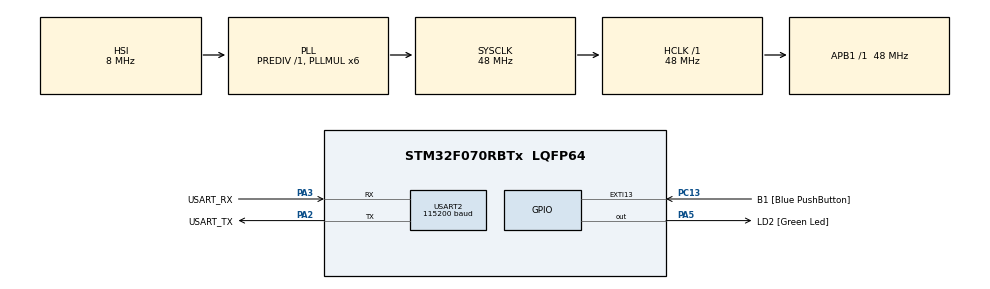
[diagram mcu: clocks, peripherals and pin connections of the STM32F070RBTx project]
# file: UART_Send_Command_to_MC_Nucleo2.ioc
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Mcu.Family=STM32F0
Mcu.Name=STM32F070RBTx
Mcu.Package=LQFP64
NVIC.USART2_IRQn=true\:0\:0\:false\:false\:true\:true\:true\:true
PA13.GPIO_Label=TMS
PA13.Mode=Serial_Wire
PA13.Signal=SYS_SWDIO
PA14.GPIO_Label=TCK
PA14.Mode=Serial_Wire
PA14.Signal=SYS_SWCLK
PA2.GPIO_Label=USART_TX
PA2.Mode=Asynchronous
PA2.Signal=USART2_TX
PA3.GPIO_Label=USART_RX
PA3.Mode=Asynchronous
PA3.Signal=USART2_RX
PA5.GPIO_Label=LD2 [Green Led]
PA5.Signal=GPIO_Output
PC13.GPIO_Label=B1 [Blue PushButton]
PC13.GPIO_ModeDefaultEXTI=GPIO_MODE_IT_FALLING
PC13.Signal=GPXTI13
PC14-OSC32_IN.GPIO_Label=RCC_OSC32_IN
PC14-OSC32_IN.Mode=LSE-External-Oscillator
PC14-OSC32_IN.Signal=RCC_OSC32_IN
PC15-OSC32_OUT.GPIO_Label=RCC_OSC32_OUT
PC15-OSC32_OUT.Mode=LSE-External-Oscillator
PC15-OSC32_OUT.Signal=RCC_OSC32_OUT
PF0-OSC_IN.GPIO_Label=RCC_OSC_IN
PF0-OSC_IN.Mode=HSE-External-Clock-Source
PF0-OSC_IN.Signal=RCC_OSC_IN
PF1-OSC_OUT.GPIO_Label=RCC_OSC_OUT
PF1-OSC_OUT.Signal=RCC_OSC_OUT
ProjectManager.HeapSize=0x200
ProjectManager.StackSize=0x400
ProjectManager.TargetToolchain=STM32CubeIDE
RCC.AHBFreq_Value=48000000
RCC.APB1Freq_Value=48000000
RCC.APB1TimFreq_Value=48000000
RCC.HCLKFreq_Value=48000000
RCC.PLLMUL=RCC_PLL_MUL6
RCC.SYSCLKFreq_VALUE=48000000
RCC.SYSCLKSource=RCC_SYSCLKSOURCE_PLLCLK
USART2.BaudRate=115200
USART2.VirtualMode-Asynchronous=VM_ASYNC
board=NUCLEO-F070RB

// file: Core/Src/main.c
/* USER CODE BEGIN Header */
/**
  ******************************************************************************
  * @file           : main.c
  * @brief          : Main program body
  ******************************************************************************
  * @attention
  *
  * Copyright (c) 2023 STMicroelectronics.
  * All rights reserved.
  *
  * This software is licensed under terms that can be found in the LICENSE file
  * in the root directory of this software component.
  * If no LICENSE file comes with this software, it is provided AS-IS.
  *
  ******************************************************************************
  */
/* USER CODE END Header */
#include "main.h"

UART_HandleTypeDef huart2;

/* USER CODE BEGIN PV */ // CUSTOM CODES

uint8_t rx_data[1];
volatile uint8_t startReceive = 1;

#define RX_BUFFER_SIZE 10
char rx_buffer[RX_BUFFER_SIZE];
uint8_t rx_index = 0;

#include <string.h>

// char receivedChar; // Enable it if you want to use it later on the code

/* USER CODE END PV */

void SystemClock_Config(void);
static void MX_GPIO_Init(void);
static void MX_USART2_UART_Init(void);

/* USER CODE BEGIN 0 */

// extern void initialise_monitor_handles(void); // Declare the function // for debugging by KD CUSTOM

/* USER CODE END 0 */

int main(void)
{
  /* USER CODE BEGIN 1 */

  //  initialise_monitor_handles(); // for debugging by KD CUSTOM

  /* USER CODE END 1 */

  /* MCU Configuration--------------------------------------------------------*/

  /* Reset of all peripherals, Initializes the Flash interface and the Systick. */
  HAL_Init();

  /* Configure the system clock */
  SystemClock_Config();

  /* Initialize all configured peripherals */
  MX_GPIO_Init();
  MX_USART2_UART_Init();
  /* USER CODE BEGIN 2 */

// CUSTOM CODES

  // HAL_GPIO_WritePin(LD2_GPIO_Port, LD2_Pin, GPIO_PIN_SET); // set the led first

  HAL_UART_Receive_IT(&huart2, rx_data, 1); // In every (1) byte sent, trigger an interrupt and do something. The buffer will be 2 bytes
  // If you set it to 6, there will be an interrupt on every 6 letters. You can use it in a password-like system. Don't forget to change the buffer and message size, too.

  /* USER CODE END 2 */

  /* Infinite loop */
  /* USER CODE BEGIN WHILE */
  while (1)
  {

//	  HAL_UART_Transmit(&huart2, msg, 32, TimeOutTime);
//	  HAL_Delay(1000);

    /* USER CODE END WHILE */

  }
}

void SystemClock_Config(void)
{
  RCC_OscInitTypeDef RCC_OscInitStruct = {0};
  RCC_ClkInitTypeDef RCC_ClkInitStruct = {0};

  /** Initializes the RCC Oscillators according to the specified parameters
  * in the RCC_OscInitTypeDef structure.
  */
  RCC_OscInitStruct.OscillatorType = RCC_OSCILLATORTYPE_HSI;
  RCC_OscInitStruct.HSIState = RCC_HSI_ON;
  RCC_OscInitStruct.HSICalibrationValue = RCC_HSICALIBRATION_DEFAULT;
  RCC_OscInitStruct.PLL.PLLState = RCC_PLL_ON;
  RCC_OscInitStruct.PLL.PLLSource = RCC_PLLSOURCE_HSI;
  RCC_OscInitStruct.PLL.PLLMUL = RCC_PLL_MUL6;
  RCC_OscInitStruct.PLL.PREDIV = RCC_PREDIV_DIV1;
  if (HAL_RCC_OscConfig(&RCC_OscInitStruct) != HAL_OK)
  {
    Error_Handler();
  }

  /** Initializes the CPU, AHB and APB buses clocks
  */
  RCC_ClkInitStruct.ClockType = RCC_CLOCKTYPE_HCLK|RCC_CLOCKTYPE_SYSCLK
                              |RCC_CLOCKTYPE_PCLK1;
  RCC_ClkInitStruct.SYSCLKSource = RCC_SYSCLKSOURCE_PLLCLK;
  RCC_ClkInitStruct.AHBCLKDivider = RCC_SYSCLK_DIV1;
  RCC_ClkInitStruct.APB1CLKDivider = RCC_HCLK_DIV1;

  if (HAL_RCC_ClockConfig(&RCC_ClkInitStruct, FLASH_LATENCY_1) != HAL_OK)
  {
    Error_Handler();
  }
}

static void MX_USART2_UART_Init(void)
{

  huart2.Instance = USART2;
  huart2.Init.BaudRate = 115200;
  huart2.Init.WordLength = UART_WORDLENGTH_8B;
  huart2.Init.StopBits = UART_STOPBITS_1;
  huart2.Init.Parity = UART_PARITY_NONE;
  huart2.Init.Mode = UART_MODE_TX_RX;
  huart2.Init.HwFlowCtl = UART_HWCONTROL_NONE;
  huart2.Init.OverSampling = UART_OVERSAMPLING_16;
  huart2.Init.OneBitSampling = UART_ONE_BIT_SAMPLE_DISABLE;
  huart2.AdvancedInit.AdvFeatureInit = UART_ADVFEATURE_NO_INIT;
  if (HAL_UART_Init(&huart2) != HAL_OK)
  {
    Error_Handler();
  }

}

static void MX_GPIO_Init(void)
{
  GPIO_InitTypeDef GPIO_InitStruct = {0};

  /* GPIO Ports Clock Enable */
  __HAL_RCC_GPIOC_CLK_ENABLE();
  __HAL_RCC_GPIOF_CLK_ENABLE();
  __HAL_RCC_GPIOA_CLK_ENABLE();

  /*Configure GPIO pin Output Level */
  HAL_GPIO_WritePin(LD2_GPIO_Port, LD2_Pin, GPIO_PIN_RESET);

  /*Configure GPIO pin : B1_Pin */
  GPIO_InitStruct.Pin = B1_Pin;
  GPIO_InitStruct.Mode = GPIO_MODE_IT_FALLING;
  GPIO_InitStruct.Pull = GPIO_NOPULL;
  HAL_GPIO_Init(B1_GPIO_Port, &GPIO_InitStruct);

  /*Configure GPIO pin : LD2_Pin */
  GPIO_InitStruct.Pin = LD2_Pin;
  GPIO_InitStruct.Mode = GPIO_MODE_OUTPUT_PP;
  GPIO_InitStruct.Pull = GPIO_NOPULL;
  GPIO_InitStruct.Speed = GPIO_SPEED_FREQ_LOW;
  HAL_GPIO_Init(LD2_GPIO_Port, &GPIO_InitStruct);

}

/* USER CODE BEGIN 4 */

// CUSTOM CODE
// USING RX COMPLETED FUNCTION FROM HAL UART LIBRARY, FOR DOING SOMETHING WHEN RX TRANSFER IS COMPLETED

__weak void HAL_UART_RxCpltCallback(UART_HandleTypeDef *huart)
{
  /* Prevent unused argument(s) compilation warning */
  UNUSED(huart);

  /* NOTE : This function should not be modified, when the callback is needed,
            the HAL_UART_RxCpltCallback can be implemented in the user file.
   */

  // SOME CUSTOM CODES AND DIFFERENT TRIALS
  //receivedChar = (char) rx_data[0];
  //int receivedValue = rx_data[0];
  //HAL_UART_Transmit(&huart2, (uint8_t *)&receivedChar, 1, HAL_MAX_DELAY); // We don't need this CUSTOM code anymore, commented before lighting up the led with interrupt
  // HAL_UART_Transmit(&huart2, (uint8_t *)&receivedValue, 1, HAL_MAX_DELAY); // We don't need this CUSTOM code anymore, commented before lighting up the led with interrupt
  // printf("Received: %d\n", receivedChar); // for debugging by KD CUSTOM

 // HAL_UART_Transmit(&huart2, &rx_data[0], 1, HAL_MAX_DELAY); // We don't need this CUSTOM code anymore, commented before lighting up the led with interrupt

  // Handle the received character
  if (rx_data[0] == '\b') { // Backspace character
      if (rx_index > 0) {
          // Move the cursor back by sending a backspace and a space
          char backspace[] = "\b \b";
          HAL_UART_Transmit(&huart2, (uint8_t *)backspace, strlen(backspace), HAL_MAX_DELAY);
          rx_index--;
      }

  } else if (rx_data[0] == '\r' || rx_data[0] == '\n') { // Enter or newline
          // Send a newline and a carriage return
          char newline[] = "\r\n";
          HAL_UART_Transmit(&huart2, (uint8_t *)newline, strlen(newline), HAL_MAX_DELAY);

          // Null-terminate the buffer
          rx_buffer[rx_index] = '\0';

          if (rx_index > 0){ // Check if any characters were entered

			  if (strcmp(rx_buffer, "hello") == 0) {
				  HAL_GPIO_WritePin(LD2_GPIO_Port, LD2_Pin, GPIO_PIN_SET); // Light up the LED
			  } else {
				  HAL_GPIO_WritePin(LD2_GPIO_Port, LD2_Pin, GPIO_PIN_RESET); // Turn off the LED
			  }
          }
          // Reset the buffer index
          rx_index = 0;

      } else {
          // Echo back the received character
          HAL_UART_Transmit(&huart2, (uint8_t *)rx_data, 1, HAL_MAX_DELAY);

          // Store the received character in the buffer
          rx_buffer[rx_index] = rx_data[0];
          rx_index++;
      }

      // Start the next receive operation
      HAL_UART_Receive_IT(&huart2, rx_data, 1);
  }

/* USER CODE END 4 */

void Error_Handler(void)
{
  __disable_irq();
  while (1)
  {
  }
}
